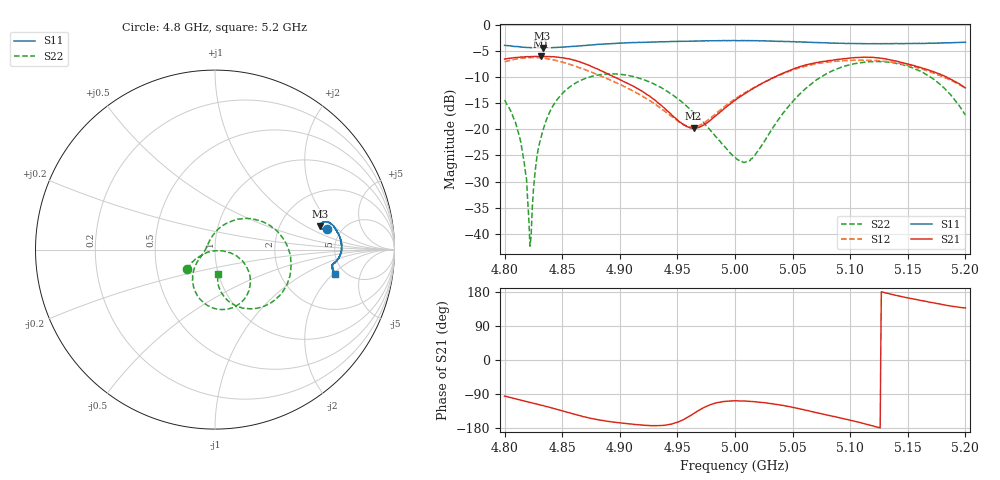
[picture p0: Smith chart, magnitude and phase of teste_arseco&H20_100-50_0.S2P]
! Network Analyzer HP8722D
! Hewlett-Packard
! Data name: Linha & Wilkinson
! Saver's name: Rodrigo Anjos
! Comments: Teste da utilização de aquisição
! continua pelo VNA HP8722D
! Time and date: 6/5/2025 12:34
!  Frequency  S11  S21  S12  S22
# HZ  S  MA R 50
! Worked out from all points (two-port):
!   401 points, 4.8 GHz to 5.2 GHz, reference 50 ohm
!   highest |S21| = -6.05 dB at 4.832 GHz (marker M1); lowest = -19.8 dB at 4.964 GHz (marker M2)
!   |S21| within 3 dB of the highest: start of sweep to 4.886 GHz; 5.044 GHz to 5.173 GHz (129.2 MHz wide, 2.53 % of centre)
!   lowest |S11| = -4.5 dB at 4.833 GHz (marker M3), VSWR 3.98, Z = 170 + j68.1 ohm
!   |S11| at or under -10 dB: nowhere
!   |S22| runs from -42.4 to -7.0 dB; largest |S21 - S12| = 0.11
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4.8e9  0.6354 10.2  0.4692 -95.4  0.4434 -81.4  0.1907 -144.6
4.808e9  0.6212 10.1  0.4839 -101.3  0.4647 -88.8  0.126 -153.2
4.814e9  0.6125 10.6  0.4913 -105.9  0.477 -94.4  0.07589 -158.5
4.817e9  0.6089 10.9  0.4925 -108.2  0.4814 -97.4  0.04797 -160.3
4.822e9  0.6042 11.1  0.4939 -111.8  0.4852 -102.4  0.007617 -102.2
4.824e9  0.6028 11.4  0.4958 -113.5  0.4866 -104.5  0.01773 -22.5
4.828e9  0.6015 11.9  0.4964 -116.2  0.4854 -108.4  0.05365 -10.6
4.832e9  0.6013 12.4  0.4983 -119.4  0.4815 -112.3  0.08726 -11.4
4.833e9  0.5985 12.4  0.4967 -120.0  0.4806 -113.1  0.09556 -13.1
4.846e9  0.608 13.8  0.4908 -130.7  0.4515 -125.0  0.1949 -27.5
4.867e9  0.6286 14.1  0.4347 -148.2  0.3809 -140.5  0.2972 -50.6
4.899e9  0.6673 12.1  0.3029 -165.5  0.2715 -155.7  0.3365 -82.6
4.934e9  0.6864 8.7  0.1765 -173.3  0.1639 -160.1  0.2566 -115.6
4.964e9  0.6985 5.8  0.1024 -141.5  0.1055 -129.7  0.145 -140.2
5e9  0.7065 1.4  0.1889 -107.8  0.1954 -102.0  0.05416 -179.7
5.015e9  0.7052 -0.4  0.2428 -109.7  0.2449 -104.6  0.05255 131.2
5.044e9  0.6924 -3.9  0.3528 -121.4  0.3477 -116.8  0.1535 68.1
5.067e9  0.6778 -5.6  0.4268 -136.3  0.4159 -131.8  0.2755 37.8
5.101e9  0.6619 -6.9  0.4825 -159.5  0.4561 -155.3  0.4186 -3.3
5.134e9  0.6602 -8.0  0.4631 174.8  0.4416 -178.3  0.4379 -38.6
5.171e9  0.6655 -9.7  0.3603 151.6  0.3493 157.9  0.3093 -73.5
5.2e9  0.6801 -11.4  0.2489 137.2  0.249 144.8  0.1371 -82.9
